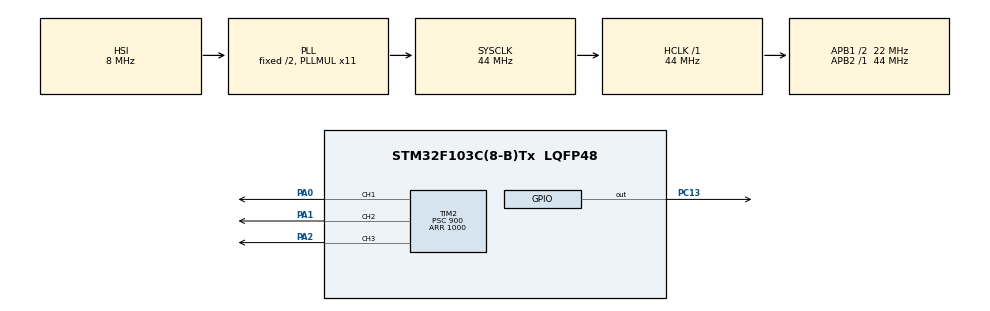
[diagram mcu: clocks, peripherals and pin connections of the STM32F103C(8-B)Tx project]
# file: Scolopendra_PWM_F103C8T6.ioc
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Mcu.Family=STM32F1
Mcu.Name=STM32F103C(8-B)Tx
Mcu.Package=LQFP48
NVIC.PriorityGroup=NVIC_PRIORITYGROUP_4
NVIC.TIM2_IRQn=true\:0\:0\:false\:false\:true\:true
PA0-WKUP.Signal=S_TIM2_CH1_ETR
PA1.Signal=S_TIM2_CH2
PA2.Signal=S_TIM2_CH3
PC13-TAMPER-RTC.Signal=GPIO_Output
PD0-OSC_IN.Mode=HSE-External-Oscillator
PD0-OSC_IN.Signal=RCC_OSC_IN
PD1-OSC_OUT.Mode=HSE-External-Oscillator
PD1-OSC_OUT.Signal=RCC_OSC_OUT
ProjectManager.HeapSize=0x200
ProjectManager.StackSize=0x400
ProjectManager.TargetToolchain=MDK-ARM V5
RCC.AHBFreq_Value=44000000
RCC.APB1CLKDivider=RCC_HCLK_DIV2
RCC.APB1Freq_Value=22000000
RCC.APB1TimFreq_Value=44000000
RCC.APB2Freq_Value=44000000
RCC.APB2TimFreq_Value=44000000
RCC.HCLKFreq_Value=44000000
RCC.PLLMUL=RCC_PLL_MUL11
RCC.SYSCLKFreq_VALUE=44000000
RCC.SYSCLKSource=RCC_SYSCLKSOURCE_PLLCLK
RCC.USBFreq_Value=44000000
SH.S_TIM2_CH1_ETR.0=TIM2_CH1,PWM Generation1 CH1
SH.S_TIM2_CH2.0=TIM2_CH2,PWM Generation2 CH2
SH.S_TIM2_CH3.0=TIM2_CH3,PWM Generation3 CH3
TIM2.Channel-PWM\ Generation1\ CH1=TIM_CHANNEL_1
TIM2.Channel-PWM\ Generation2\ CH2=TIM_CHANNEL_2
TIM2.Channel-PWM\ Generation3\ CH3=TIM_CHANNEL_3
TIM2.Period=1000
TIM2.Prescaler=900
VP_SYS_VS_ND.Mode=No_Debug
VP_TIM2_VS_ClockSourceINT.Mode=Internal
board=Scolopendra_PWM_F103C8T6

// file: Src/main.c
/**
  ******************************************************************************
  * File Name          : main.c
  * Description        : Main program body
  ******************************************************************************
  ** This notice applies to any and all portions of this file
  * that are not between comment pairs USER CODE BEGIN and
  * USER CODE END. Other portions of this file, whether
  * inserted by the user or by software development tools
  * are owned by their respective copyright owners.
  *
  * COPYRIGHT(c) 2020 STMicroelectronics
  *
  * Redistribution and use in source and binary forms, with or without modification,
  * are permitted provided that the following conditions are met:
  *   1. Redistributions of source code must retain the above copyright notice,
  *      this list of conditions and the following disclaimer.
  *   2. Redistributions in binary form must reproduce the above copyright notice,
  *      this list of conditions and the following disclaimer in the documentation
  *      and/or other materials provided with the distribution.
  *   3. Neither the name of STMicroelectronics nor the names of its contributors
  *      may be used to endorse or promote products derived from this software
  *      without specific prior written permission.
  *
  * THIS SOFTWARE IS PROVIDED BY THE COPYRIGHT HOLDERS AND CONTRIBUTORS "AS IS"
  * AND ANY EXPRESS OR IMPLIED WARRANTIES, INCLUDING, BUT NOT LIMITED TO, THE
  * IMPLIED WARRANTIES OF MERCHANTABILITY AND FITNESS FOR A PARTICULAR PURPOSE ARE
  * DISCLAIMED. IN NO EVENT SHALL THE COPYRIGHT HOLDER OR CONTRIBUTORS BE LIABLE
  * FOR ANY DIRECT, INDIRECT, INCIDENTAL, SPECIAL, EXEMPLARY, OR CONSEQUENTIAL
  * DAMAGES (INCLUDING, BUT NOT LIMITED TO, PROCUREMENT OF SUBSTITUTE GOODS OR
  * SERVICES; LOSS OF USE, DATA, OR PROFITS; OR BUSINESS INTERRUPTION) HOWEVER
  * CAUSED AND ON ANY THEORY OF LIABILITY, WHETHER IN CONTRACT, STRICT LIABILITY,
  * OR TORT (INCLUDING NEGLIGENCE OR OTHERWISE) ARISING IN ANY WAY OUT OF THE USE
  * OF THIS SOFTWARE, EVEN IF ADVISED OF THE POSSIBILITY OF SUCH DAMAGE.
  *
  ******************************************************************************
  */

#include "main.h"
#include "stm32f1xx_hal.h"
#include "tim.h"
#include "gpio.h"

/* USER CODE BEGIN PV */
/* Private variables ---------------------------------------------------------*/

/* USER CODE END PV */

void SystemClock_Config(void);

/* USER CODE BEGIN PFP */
/* Private function prototypes -----------------------------------------------*/

/* USER CODE END PFP */

int main(void)
{

  /* MCU Configuration----------------------------------------------------------*/

  /* Reset of all peripherals, Initializes the Flash interface and the Systick. */
  HAL_Init();

  /* Configure the system clock */
  SystemClock_Config();

  /* Initialize all configured peripherals */
  MX_GPIO_Init();
  MX_TIM2_Init();

  /* USER CODE BEGIN 2 */
	HAL_TIM_PWM_Start(&htim2,TIM_CHANNEL_1); // start tim2 channel_1
	HAL_TIM_PWM_Start(&htim2,TIM_CHANNEL_2); // start tim2 channel_2
	HAL_TIM_PWM_Start(&htim2,TIM_CHANNEL_3); // start tim2 channel_3

  /* USER CODE END 2 */

  /* Infinite loop */
  while (1)
  {

  /* USER CODE BEGIN 3 */
		htim2.Instance->CCR1 = 35;
		HAL_GPIO_WritePin(GPIOC, GPIO_PIN_13, GPIO_PIN_SET);
		HAL_Delay(250);
		htim2.Instance->CCR2 = 60;
		htim2.Instance->CCR3 = 90;
		HAL_Delay(250);

		htim2.Instance->CCR1 = 80;
		HAL_GPIO_WritePin(GPIOC, GPIO_PIN_13, GPIO_PIN_RESET);
		HAL_Delay(250);
		htim2.Instance->CCR2 = 90;
		htim2.Instance->CCR3 = 60;
		HAL_Delay(250);
  }
  /* USER CODE END 3 */

}

/** System Clock Configuration
*/
void SystemClock_Config(void)
{

  RCC_OscInitTypeDef RCC_OscInitStruct;
  RCC_ClkInitTypeDef RCC_ClkInitStruct;

    /**Initializes the CPU, AHB and APB busses clocks
    */
  RCC_OscInitStruct.OscillatorType = RCC_OSCILLATORTYPE_HSI;
  RCC_OscInitStruct.HSIState = RCC_HSI_ON;
  RCC_OscInitStruct.HSICalibrationValue = 16;
  RCC_OscInitStruct.PLL.PLLState = RCC_PLL_ON;
  RCC_OscInitStruct.PLL.PLLSource = RCC_PLLSOURCE_HSI_DIV2;
  RCC_OscInitStruct.PLL.PLLMUL = RCC_PLL_MUL11;
  if (HAL_RCC_OscConfig(&RCC_OscInitStruct) != HAL_OK)
  {
    _Error_Handler(__FILE__, __LINE__);
  }

    /**Initializes the CPU, AHB and APB busses clocks
    */
  RCC_ClkInitStruct.ClockType = RCC_CLOCKTYPE_HCLK|RCC_CLOCKTYPE_SYSCLK
                              |RCC_CLOCKTYPE_PCLK1|RCC_CLOCKTYPE_PCLK2;
  RCC_ClkInitStruct.SYSCLKSource = RCC_SYSCLKSOURCE_PLLCLK;
  RCC_ClkInitStruct.AHBCLKDivider = RCC_SYSCLK_DIV1;
  RCC_ClkInitStruct.APB1CLKDivider = RCC_HCLK_DIV2;
  RCC_ClkInitStruct.APB2CLKDivider = RCC_HCLK_DIV1;

  if (HAL_RCC_ClockConfig(&RCC_ClkInitStruct, FLASH_LATENCY_1) != HAL_OK)
  {
    _Error_Handler(__FILE__, __LINE__);
  }

    /**Configure the Systick interrupt time
    */
  HAL_SYSTICK_Config(HAL_RCC_GetHCLKFreq()/1000);

    /**Configure the Systick
    */
  HAL_SYSTICK_CLKSourceConfig(SYSTICK_CLKSOURCE_HCLK);

  /* SysTick_IRQn interrupt configuration */
  HAL_NVIC_SetPriority(SysTick_IRQn, 0, 0);
}

void _Error_Handler(char * file, int line)
{
  while(1)
  {
  }
}

/************************ (C) COPYRIGHT STMicroelectronics *****END OF FILE****/
